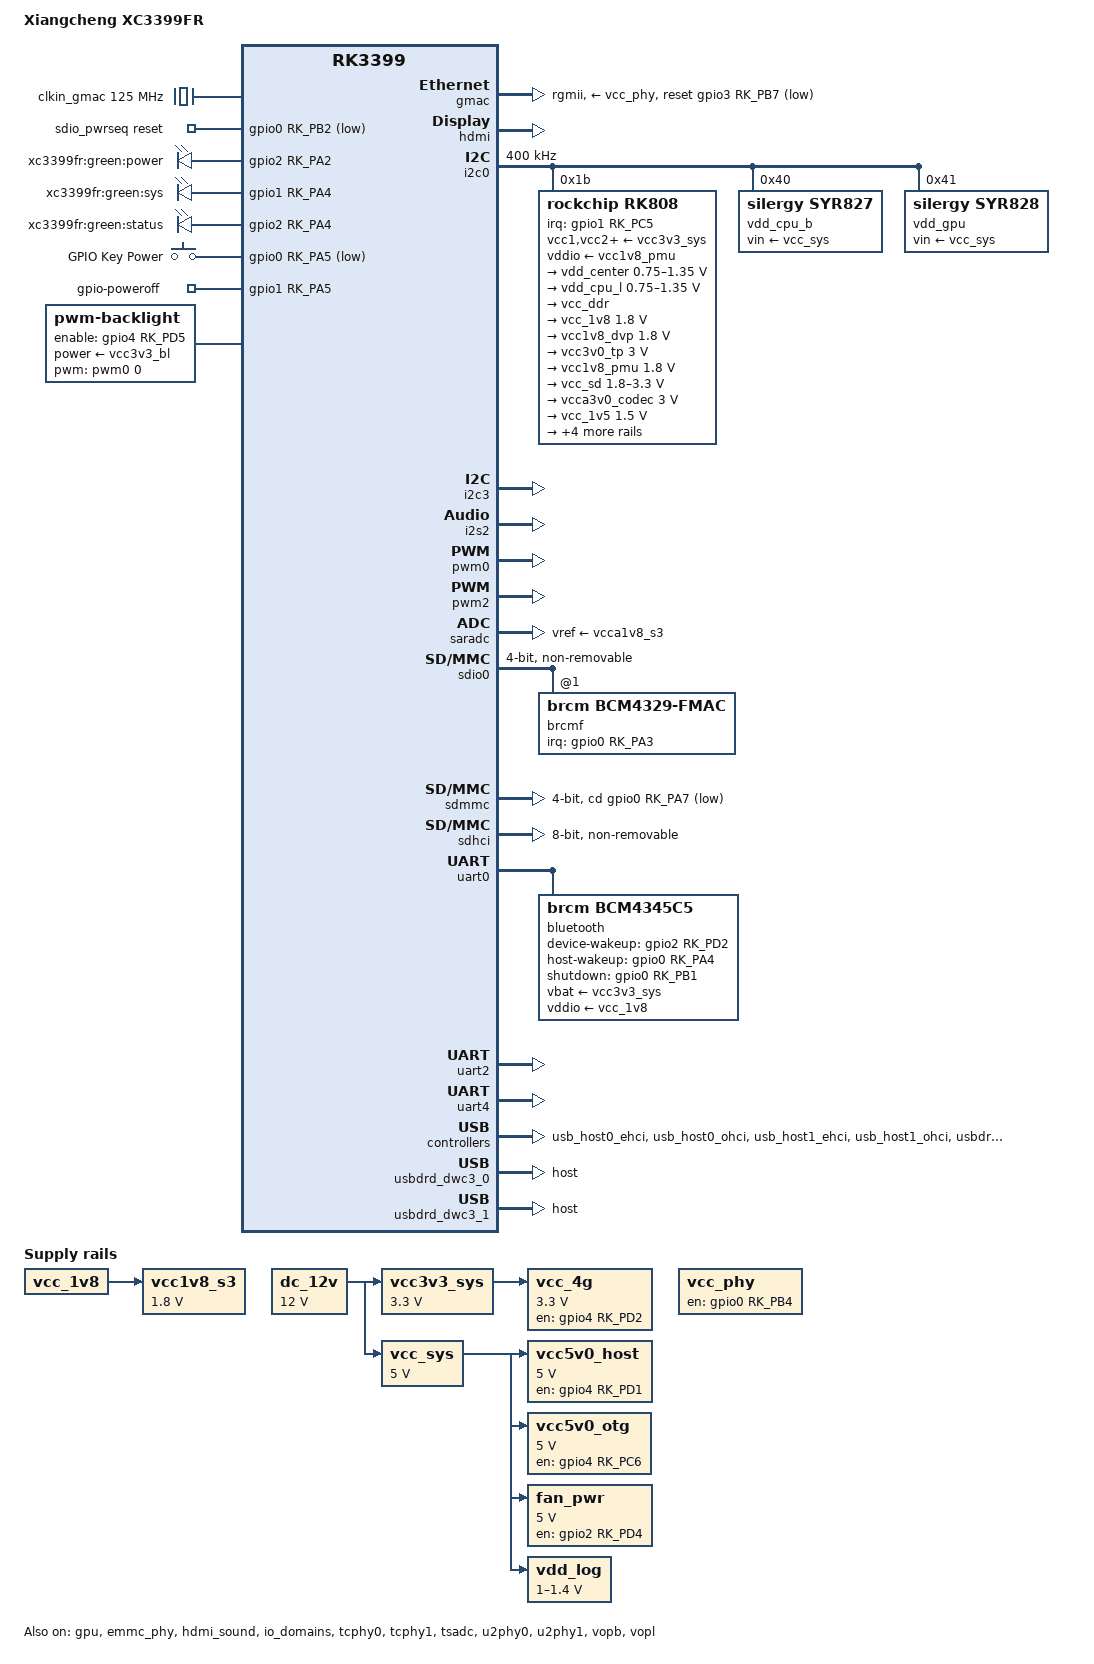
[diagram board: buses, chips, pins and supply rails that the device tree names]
// SPDX-License-Identifier: (GPL-2.0+ OR MIT)
/*
 * Guangzhou Xiangcheng Electronics (proembed.com) XC3399FR industrial board.
 * (validated on hardware revision v1.1a)
 *
 * Derived from rk3399-fine3399.dts and validated against a live board over
 * the debug UART. A vendor Android device tree dumped from an XC3399FR of a
 * different hardware revision (compatible "rockchip,rk3399-excavator-edp")
 * was used as a cross-check only, never as the sole justification.
 *
 * Hardware notes (probed over the debug UART on a live board):
 *  - 4 GB LPDDR4 (the printed datasheet claims DDR3 - it is wrong)
 *  - 16 GB eMMC, HS400 enhanced strobe
 *  - RTL8211E gigabit PHY on RGMII
 *  - AP6256 (BCM4345/9) WiFi on SDIO + Bluetooth on UART0
 *  - 4x RS232 are an Exar XR21V1414 USB bridge, not SoC UARTs
 *  - The mini-PCIe slot has a 3V3 enable on gpio4 RK_PD2 but no working
 *    PCIe link (the PHY PLL never locks); treat it as a 4G modem slot
 *
 * The vendor Android tree is only partly trustworthy - it still carries
 * Rockchip reference-board leftovers. An i2c scan of this board shows
 * only 0x1b/0x40/0x41 on i2c0, so the HYM8563 RTC the vendor tree
 * declares at 0x51 does not exist here and is deliberately absent below.
 * Anything not confirmed against real hardware was left out.
 */

/dts-v1/;
#include <dt-bindings/input/input.h>
#include <dt-bindings/pwm/pwm.h>
#include "rk3399.dtsi"

/ {
	model = "Xiangcheng XC3399FR";
	compatible = "xcdz,xc3399fr", "rockchip,rk3399";

	aliases {
		mmc0 = &sdio0;
		mmc1 = &sdmmc;
		mmc2 = &sdhci;
	};

	chosen {
		stdout-path = "serial2:1500000n8";
	};

	clkin_gmac: external-gmac-clock {
		compatible = "fixed-clock";
		clock-frequency = <125000000>;
		clock-output-names = "clkin_gmac";
		#clock-cells = <0>;
	};

	dc_12v: dc-12v {
		compatible = "regulator-fixed";
		regulator-name = "dc_12v";
		regulator-always-on;
		regulator-boot-on;
		regulator-min-microvolt = <12000000>;
		regulator-max-microvolt = <12000000>;
	};

	sdio_pwrseq: sdio-pwrseq {
		compatible = "mmc-pwrseq-simple";
		clocks = <&rk808 1>;
		clock-names = "ext_clock";
		pinctrl-names = "default";
		pinctrl-0 = <&wifi_reg_on_h>;
		reset-gpios = <&gpio0 RK_PB2 GPIO_ACTIVE_LOW>;
	};

	/* switched by pmic_sleep */
	vcc1v8_s3: vcca1v8_s3: vcc1v8-s3 {
		compatible = "regulator-fixed";
		regulator-name = "vcc1v8_s3";
		regulator-always-on;
		regulator-boot-on;
		regulator-min-microvolt = <1800000>;
		regulator-max-microvolt = <1800000>;
		vin-supply = <&vcc_1v8>;
	};

	vcc3v3_sys: vcc3v3_bl: vcc3v3-sys {
		compatible = "regulator-fixed";
		regulator-name = "vcc3v3_sys";
		regulator-always-on;
		regulator-boot-on;
		regulator-min-microvolt = <3300000>;
		regulator-max-microvolt = <3300000>;
		vin-supply = <&dc_12v>;
	};

	vcc_sys: vcc5v0_sys: vcc-sys {
		compatible = "regulator-fixed";
		regulator-name = "vcc_sys";
		regulator-always-on;
		regulator-boot-on;
		regulator-min-microvolt = <5000000>;
		regulator-max-microvolt = <5000000>;
		vin-supply = <&dc_12v>;
	};

	/*
	 * The vendor Android tree declares vcc_phy with no enable GPIO, but
	 * that tree has been shown to carry leftovers from the Rockchip
	 * reference board, and driving gpio0 RK_PB4 is what is running on
	 * this board today with a working RTL8211E link. gpio0 RK_PB4 is
	 * referenced by nothing else in the vendor tree, so asserting it is
	 * harmless either way - keep the configuration that is known good.
	 */
	vcc_phy: vcc-phy-regulator {
		compatible = "regulator-fixed";
		enable-active-high;
		gpio = <&gpio0 RK_PB4 GPIO_ACTIVE_HIGH>;
		pinctrl-names = "default";
		pinctrl-0 = <&vcc_phy_h>;
		regulator-name = "vcc_phy";
		regulator-always-on;
		regulator-boot-on;
	};

	/*
	 * USB 5V rails. Both are enable-active-high GPIOs that fine3399 does
	 * not describe at all, which leaves the right-hand USB3 port dead.
	 * Worse, fine3399's ST7735R SPI panel claims GPIO4_D1 as an
	 * active-low reset and pulls the host rail down.
	 */
	vcc5v0_host: vcc5v0-host-regulator {
		compatible = "regulator-fixed";
		enable-active-high;
		gpio = <&gpio4 RK_PD1 GPIO_ACTIVE_HIGH>;
		pinctrl-names = "default";
		pinctrl-0 = <&host_vbus_drv>;
		regulator-name = "vcc5v0_host";
		regulator-min-microvolt = <5000000>;
		regulator-max-microvolt = <5000000>;
		regulator-always-on;
		regulator-boot-on;
		vin-supply = <&vcc_sys>;
	};

	vcc5v0_otg: vcc5v0-otg-regulator {
		compatible = "regulator-fixed";
		enable-active-high;
		gpio = <&gpio4 RK_PC6 GPIO_ACTIVE_HIGH>;
		pinctrl-names = "default";
		pinctrl-0 = <&otg_vbus_drv>;
		regulator-name = "vcc5v0_otg";
		regulator-min-microvolt = <5000000>;
		regulator-max-microvolt = <5000000>;
		regulator-always-on;
		regulator-boot-on;
		vin-supply = <&vcc_sys>;
	};

	/* Chassis fan header - plain GPIO enable, not PWM on this board. */
	fan_pwr: fan-pwr-regulator {
		compatible = "regulator-fixed";
		enable-active-high;
		gpio = <&gpio2 RK_PD4 GPIO_ACTIVE_HIGH>;
		regulator-name = "fan_pwr";
		regulator-min-microvolt = <5000000>;
		regulator-max-microvolt = <5000000>;
		regulator-always-on;
		regulator-boot-on;
		vin-supply = <&vcc_sys>;
	};

	/* Power for a USB-signalled 4G modem in the mini-PCIe slot. */
	vcc_4g: vcc-4g-regulator {
		compatible = "regulator-fixed";
		enable-active-high;
		gpio = <&gpio4 RK_PD2 GPIO_ACTIVE_HIGH>;
		regulator-name = "vcc_4g";
		regulator-min-microvolt = <3300000>;
		regulator-max-microvolt = <3300000>;
		regulator-always-on;
		regulator-boot-on;
		vin-supply = <&vcc3v3_sys>;
	};

	/*
	 * vdd_log is a PWM regulator on PWM2, inverted, 25 us period. The
	 * Rockchip reference tree - and fine3399, which copies it - declares a
	 * 0.8 V floor, but the vendor tree for this board narrows it to 1.0 V
	 * and records rockchip,pwm_voltage = 1100000. With the duty the
	 * bootloader actually leaves behind (6234/25000, measured), a 0.8 V
	 * floor makes the kernel model that rail as 0.95 V while a 1.0 V floor
	 * models it as exactly the 1.1 V the vendor specifies. Use the vendor
	 * limits so the logic rail can never be modelled below its safe floor.
	 */
	vdd_log: vdd-log {
		compatible = "pwm-regulator";
		pwms = <&pwm2 0 25000 1>;
		regulator-name = "vdd_log";
		regulator-always-on;
		regulator-boot-on;
		regulator-min-microvolt = <1000000>;
		regulator-max-microvolt = <1400000>;
		vin-supply = <&vcc_sys>;
	};

	leds: gpio-leds {
		compatible = "gpio-leds";

		power_led: power-led {
			label = "xc3399fr:green:power";
			gpios = <&gpio2 RK_PA2 GPIO_ACTIVE_HIGH>;
			default-state = "on";
		};

		sys_led: sys-led {
			label = "xc3399fr:green:sys";
			gpios = <&gpio1 RK_PA4 GPIO_ACTIVE_HIGH>;
			linux,default-trigger = "heartbeat";
		};

		status_led: status-led {
			label = "xc3399fr:green:status";
			gpios = <&gpio2 RK_PA4 GPIO_ACTIVE_HIGH>;
			/*
			 * The rootfs can live on eMMC or on a USB SSD, so bind
			 * this to block activity in general rather than to one
			 * mmc host index.
			 */
			linux,default-trigger = "disk-activity";
		};
	};

	gpio-keys {
		compatible = "gpio-keys";
		autorepeat;
		pinctrl-names = "default";
		pinctrl-0 = <&power_key>;

		power {
			debounce-interval = <100>;
			gpios = <&gpio0 RK_PA5 GPIO_ACTIVE_LOW>;
			label = "GPIO Key Power";
			linux,code = <KEY_POWER>;
			wakeup-source;
		};
	};

	gpio-poweroff {
		compatible = "gpio-poweroff";
		gpios = <&gpio1 RK_PA5 GPIO_ACTIVE_HIGH>;
	};

	backlight: backlight {
		compatible = "pwm-backlight";
		brightness-levels = <0 4 8 16 32 64 128 255>;
		default-brightness-level = <6>;
		enable-gpios = <&gpio4 RK_PD5 GPIO_ACTIVE_HIGH>;
		power-supply = <&vcc3v3_bl>;
		pwms = <&pwm0 0 1000000 0>;
		status = "okay";
	};

};

&cpu_l0 {
	cpu-supply = <&vdd_cpu_l>;
};

&cpu_l1 {
	cpu-supply = <&vdd_cpu_l>;
};

&cpu_l2 {
	cpu-supply = <&vdd_cpu_l>;
};

&cpu_l3 {
	cpu-supply = <&vdd_cpu_l>;
};

&cpu_b0 {
	cpu-supply = <&vdd_cpu_b>;
};

&cpu_b1 {
	cpu-supply = <&vdd_cpu_b>;
};

&gpu {
	mali-supply = <&vdd_gpu>;
	status = "okay";
};

&emmc_phy {
	status = "okay";
};

&gmac {
	assigned-clocks = <&cru SCLK_RMII_SRC>;
	assigned-clock-parents = <&clkin_gmac>;
	clock_in_out = "input";
	phy-supply = <&vcc_phy>;
	phy-mode = "rgmii";
	pinctrl-names = "default";
	pinctrl-0 = <&rgmii_pins>;
	snps,reset-gpio = <&gpio3 RK_PB7 GPIO_ACTIVE_LOW>;
	snps,reset-active-low;
	snps,reset-delays-us = <0 10000 50000>;
	/*
	 * RGMII skew from the vendor Android tree for this board. fine3399
	 * carries 0x28/0x11, which is what the Rockchip reference design
	 * uses - the vendor having tuned these away from the reference is
	 * good evidence they are board specific. Verify with a sustained
	 * iperf3 run plus "ethtool -S eth0" error counters before shipping;
	 * a wrong rx skew links at 1000M and only shows up as packet loss.
	 */
	tx_delay = <0x27>;
	rx_delay = <0x1d>;
	/*
	 * No MAC is fused on this board, so stmmac assigns a random one at
	 * probe. That is only the pre-userspace address: systemd's default
	 * MACAddressPolicy=persistent then derives a stable per-board MAC
	 * from the machine-id, which is both stable across reboots and
	 * unique per unit. Do not pin local-mac-address here - it would be
	 * identical on every board built from this tree, and userspace
	 * overrides it anyway.
	 */
	status = "okay";
};

&hdmi {
	ddc-i2c-bus = <&i2c3>;
	pinctrl-names = "default";
	pinctrl-0 = <&hdmi_cec>;
	status = "okay";
};

&hdmi_sound {
	status = "okay";
};

&i2c0 {
	clock-frequency = <400000>;
	i2c-scl-rising-time-ns = <168>;
	i2c-scl-falling-time-ns = <4>;
	status = "okay";

	rk808: pmic@1b {
		compatible = "rockchip,rk808";
		reg = <0x1b>;
		interrupt-parent = <&gpio1>;
		interrupts = <RK_PC5 IRQ_TYPE_LEVEL_LOW>;
		#clock-cells = <1>;
		clock-output-names = "xin32k", "rk808-clkout2";
		pinctrl-names = "default";
		pinctrl-0 = <&pmic_int_l &pmic_dvs2>;
		rockchip,system-power-controller;
		wakeup-source;

		vcc1-supply = <&vcc3v3_sys>;
		vcc2-supply = <&vcc3v3_sys>;
		vcc3-supply = <&vcc3v3_sys>;
		vcc4-supply = <&vcc3v3_sys>;
		vcc6-supply = <&vcc3v3_sys>;
		vcc7-supply = <&vcc3v3_sys>;
		vcc8-supply = <&vcc3v3_sys>;
		vcc9-supply = <&vcc3v3_sys>;
		vcc10-supply = <&vcc3v3_sys>;
		vcc11-supply = <&vcc3v3_sys>;
		vcc12-supply = <&vcc3v3_sys>;
		vddio-supply = <&vcc1v8_pmu>;

		regulators {
			vdd_center: DCDC_REG1 {
				regulator-name = "vdd_center";
				regulator-always-on;
				regulator-boot-on;
				regulator-min-microvolt = <750000>;
				regulator-max-microvolt = <1350000>;
				regulator-ramp-delay = <6001>;
				regulator-state-mem {
					regulator-off-in-suspend;
				};
			};

			vdd_cpu_l: DCDC_REG2 {
				regulator-name = "vdd_cpu_l";
				regulator-always-on;
				regulator-boot-on;
				regulator-min-microvolt = <750000>;
				regulator-max-microvolt = <1350000>;
				regulator-ramp-delay = <6001>;
				regulator-state-mem {
					regulator-off-in-suspend;
				};
			};

			vcc_ddr: DCDC_REG3 {
				regulator-name = "vcc_ddr";
				regulator-always-on;
				regulator-boot-on;
				regulator-state-mem {
					regulator-on-in-suspend;
				};
			};

			vcc_1v8: DCDC_REG4 {
				regulator-name = "vcc_1v8";
				regulator-always-on;
				regulator-boot-on;
				regulator-min-microvolt = <1800000>;
				regulator-max-microvolt = <1800000>;
				regulator-state-mem {
					regulator-on-in-suspend;
					regulator-suspend-microvolt = <1800000>;
				};
			};

			vcc1v8_dvp: LDO_REG1 {
				regulator-name = "vcc1v8_dvp";
				regulator-always-on;
				regulator-boot-on;
				regulator-min-microvolt = <1800000>;
				regulator-max-microvolt = <1800000>;
				regulator-state-mem {
					regulator-off-in-suspend;
				};
			};

			vcc3v0_tp: LDO_REG2 {
				regulator-name = "vcc3v0_tp";
				regulator-always-on;
				regulator-boot-on;
				regulator-min-microvolt = <3000000>;
				regulator-max-microvolt = <3000000>;
				regulator-state-mem {
					regulator-off-in-suspend;
				};
			};

			vcc1v8_pmu: LDO_REG3 {
				regulator-name = "vcc1v8_pmu";
				regulator-always-on;
				regulator-boot-on;
				regulator-min-microvolt = <1800000>;
				regulator-max-microvolt = <1800000>;
				regulator-state-mem {
					regulator-on-in-suspend;
					regulator-suspend-microvolt = <1800000>;
				};
			};

			vcc_sd: LDO_REG4 {
				regulator-name = "vcc_sd";
				regulator-always-on;
				regulator-boot-on;
				regulator-min-microvolt = <1800000>;
				regulator-max-microvolt = <3300000>;
				regulator-state-mem {
					regulator-on-in-suspend;
					regulator-suspend-microvolt = <3300000>;
				};
			};

			vcca3v0_codec: LDO_REG5 {
				regulator-name = "vcca3v0_codec";
				regulator-always-on;
				regulator-boot-on;
				regulator-min-microvolt = <3000000>;
				regulator-max-microvolt = <3000000>;
				regulator-state-mem {
					regulator-off-in-suspend;
				};
			};

			vcc_1v5: LDO_REG6 {
				regulator-name = "vcc_1v5";
				regulator-always-on;
				regulator-boot-on;
				regulator-min-microvolt = <1500000>;
				regulator-max-microvolt = <1500000>;
				regulator-state-mem {
					regulator-on-in-suspend;
					regulator-suspend-microvolt = <1500000>;
				};
			};

			vcca1v8_codec: LDO_REG7 {
				regulator-name = "vcca1v8_codec";
				regulator-always-on;
				regulator-boot-on;
				regulator-min-microvolt = <1800000>;
				regulator-max-microvolt = <1800000>;
				regulator-state-mem {
					regulator-off-in-suspend;
				};
			};

			vcc_3v0: LDO_REG8 {
				regulator-name = "vcc_3v0";
				regulator-always-on;
				regulator-boot-on;
				regulator-min-microvolt = <3000000>;
				regulator-max-microvolt = <3000000>;
				regulator-state-mem {
					regulator-on-in-suspend;
					regulator-suspend-microvolt = <3000000>;
				};
			};

			vcc3v3_s3: SWITCH_REG1 {
				regulator-name = "vcc3v3_s3";
				regulator-always-on;
				regulator-boot-on;
				regulator-state-mem {
					regulator-off-in-suspend;
				};
			};

			vcc3v3_s0: SWITCH_REG2 {
				regulator-name = "vcc3v3_s0";
				regulator-always-on;
				regulator-boot-on;
				regulator-state-mem {
					regulator-off-in-suspend;
				};
			};
		};
	};

	vdd_cpu_b: regulator@40 {
		compatible = "silergy,syr827";
		reg = <0x40>;
		fcs,suspend-voltage-selector = <1>;
		pinctrl-names = "default";
		pinctrl-0 = <&cpu_b_sleep>;
		regulator-name = "vdd_cpu_b";
		regulator-min-microvolt = <712500>;
		regulator-max-microvolt = <1500000>;
		regulator-ramp-delay = <1000>;
		regulator-always-on;
		regulator-boot-on;
		vin-supply = <&vcc_sys>;

		regulator-state-mem {
			regulator-off-in-suspend;
		};
	};

	vdd_gpu: regulator@41 {
		compatible = "silergy,syr828";
		reg = <0x41>;
		fcs,suspend-voltage-selector = <1>;
		pinctrl-names = "default";
		pinctrl-0 = <&gpu_sleep>;
		regulator-name = "vdd_gpu";
		regulator-min-microvolt = <712500>;
		regulator-max-microvolt = <1500000>;
		regulator-ramp-delay = <1000>;
		regulator-always-on;
		regulator-boot-on;
		vin-supply = <&vcc_sys>;

		regulator-state-mem {
			regulator-off-in-suspend;
		};
	};

};


/* HDMI DDC */
&i2c3 {
	i2c-scl-rising-time-ns = <450>;
	i2c-scl-falling-time-ns = <15>;
	status = "okay";
};



&i2s2 {
	status = "okay";
};

&io_domains {
	status = "okay";

	bt656-supply = <&vcc1v8_dvp>;
	audio-supply = <&vcca1v8_codec>;
	sdmmc-supply = <&vcc_sd>;
	gpio1830-supply = <&vcc_3v0>;
};

&pmu_io_domains {
	status = "okay";
	pmu1830-supply = <&vcc_1v8>;
};

/*
 * No PCIe is routed on this board - the mini-PCIe slot is USB-only for 4G
 * modems, and the vendor tree keeps both nodes disabled. Leaving them on
 * only produces "pll lock timeout" and a -110 probe failure at every boot.
 */
&pcie_phy {
	status = "disabled";
};

&pcie0 {
	status = "disabled";
};

&pinctrl {
	pmic {
		cpu_b_sleep: cpu-b-sleep {
			rockchip,pins = <1 RK_PC1 RK_FUNC_GPIO &pcfg_pull_down>;
		};

		gpu_sleep: gpu-sleep {
			rockchip,pins = <1 RK_PB6 RK_FUNC_GPIO &pcfg_pull_down>;
		};

		pmic_int_l: pmic-int-l {
			rockchip,pins = <1 RK_PC5 RK_FUNC_GPIO &pcfg_pull_up>;
		};

		pmic_dvs2: pmic-dvs2 {
			rockchip,pins = <1 RK_PC2 RK_FUNC_GPIO &pcfg_pull_down>;
		};
	};

	sdio-pwrseq {
		wifi_reg_on_h: wifi-reg-on-h {
			rockchip,pins = <0 RK_PB2 RK_FUNC_GPIO &pcfg_pull_none>;
		};
	};

	wifi {
		wifi_host_wake_l: wifi-host-wake-l {
			rockchip,pins = <0 RK_PA3 RK_FUNC_GPIO &pcfg_pull_none>;
		};
	};

	bt {
		bt_enable_h: bt-enable-h {
			rockchip,pins = <0 RK_PB1 RK_FUNC_GPIO &pcfg_pull_none>;
		};

		bt_host_wake_l: bt-host-wake-l {
			rockchip,pins = <0 RK_PA4 RK_FUNC_GPIO &pcfg_pull_down>;
		};

		bt_wake_l: bt-wake-l {
			rockchip,pins = <2 RK_PD2 RK_FUNC_GPIO &pcfg_pull_none>;
		};
	};

	usb {
		host_vbus_drv: host-vbus-drv {
			rockchip,pins = <4 RK_PD1 RK_FUNC_GPIO &pcfg_pull_none>;
		};

		otg_vbus_drv: otg-vbus-drv {
			rockchip,pins = <4 RK_PC6 RK_FUNC_GPIO &pcfg_pull_none>;
		};
	};

	gmac {
		vcc_phy_h: vcc-phy-h {
			rockchip,pins = <0 RK_PB4 RK_FUNC_GPIO &pcfg_pull_up>;
		};
	};

	buttons {
		power_key: power-key {
			rockchip,pins = <0 RK_PA5 RK_FUNC_GPIO &pcfg_pull_up>;
		};
	};
};

/* Panel backlight */
&pwm0 {
	status = "okay";
};

/* vdd_log */
&pwm2 {
	status = "okay";
};

&saradc {
	vref-supply = <&vcca1v8_s3>;
	status = "okay";
};

/*
 * AP6256 WiFi. 50 MHz looks low next to the sd-uhs-sdr104 next to it, but the
 * vendor tree caps this controller at exactly the same figure
 * (clock-freq-min-max = <200000 50000000>, clock-frequency = 50000000), so the
 * ceiling is this board's, not a fine3399 leftover. Leave it alone.
 */
&sdio0 {
	bus-width = <4>;
	cap-sd-highspeed;
	cap-sdio-irq;
	clock-frequency = <50000000>;
	disable-wp;
	keep-power-in-suspend;
	max-frequency = <50000000>;
	mmc-pwrseq = <&sdio_pwrseq>;
	non-removable;
	pinctrl-names = "default";
	pinctrl-0 = <&sdio0_bus4 &sdio0_cmd &sdio0_clk>;
	sd-uhs-sdr104;
	#address-cells = <1>;
	#size-cells = <0>;
	status = "okay";

	brcmf: wifi@1 {
		reg = <1>;
		compatible = "brcm,bcm4329-fmac";
		interrupt-parent = <&gpio0>;
		interrupts = <RK_PA3 GPIO_ACTIVE_HIGH>;
		interrupt-names = "host-wake";
		brcm,drive-strength = <5>;
		pinctrl-names = "default";
		pinctrl-0 = <&wifi_host_wake_l>;
	};
};

/*
 * TF slot. The vendor Android tree only advertises high-speed, but this board
 * has been running the fine3399 configuration - SDR104 at 150 MHz, the RK3399
 * sdmmc ceiling - with no trouble, so keep the faster settings. The slower UHS
 * modes are advertised alongside it: they share the same 1.8 V signalling
 * switch SDR104 already needs, and without them a card that tops out at SDR50
 * drops all the way back to 50 MHz high-speed.
 *
 * One caveat worth knowing before shipping in volume: the vendor tree declares
 * this controller at 100 MHz (clock-freq-min-max = <100000 100000000>) with no
 * UHS modes at all. 150 MHz is the RK3399 ceiling and fine3399 runs it on this
 * board, but it is above what the vendor specifies, and only an SDR104 card
 * ever clocks that high - the card tested here negotiates SDR50 at 100 MHz and
 * so never leaves the vendor envelope. If field units show CRC retries on
 * SDR104 cards, drop both frequencies to 100000000: SDR50 survives and only
 * SDR104 loses its top gear.
 */
&sdmmc {
	bus-width = <4>;
	cap-mmc-highspeed;
	cap-sd-highspeed;
	cd-gpios = <&gpio0 RK_PA7 GPIO_ACTIVE_LOW>;
	clock-frequency = <150000000>;
	max-frequency = <150000000>;
	sd-uhs-sdr12;
	sd-uhs-sdr25;
	sd-uhs-sdr50;
	sd-uhs-sdr104;
	disable-wp;
	pinctrl-names = "default";
	pinctrl-0 = <&sdmmc_clk &sdmmc_cmd &sdmmc_cd &sdmmc_bus4>;
	vqmmc-supply = <&vcc_sd>;
	status = "okay";
};

&sdhci {
	bus-width = <8>;
	mmc-hs400-1_8v;
	mmc-hs400-enhanced-strobe;
	keep-power-in-suspend;
	non-removable;
	status = "okay";
};

&tcphy0 {
	status = "okay";
};

&tcphy1 {
	status = "okay";
};

/*
 * The vendor tree raises the hardware thermal shutdown to 120 C. Keep the
 * mainline 95 C default instead: it sits well above the 83.9 C measured under
 * a full CPU+GPU+IO+network stress run, and well below anything that would
 * shorten the part's life in a 24/7 installation.
 */
&tsadc {
	/* tshut mode 0:CRU 1:GPIO */
	rockchip,hw-tshut-mode = <1>;
	/* tshut polarity 0:LOW 1:HIGH */
	rockchip,hw-tshut-polarity = <1>;
	status = "okay";
};

&u2phy0 {
	status = "okay";

	u2phy0_otg: otg-port {
		phy-supply = <&vcc5v0_otg>;
		status = "okay";
	};

	u2phy0_host: host-port {
		phy-supply = <&vcc5v0_host>;
		status = "okay";
	};
};

&u2phy1 {
	status = "okay";

	u2phy1_otg: otg-port {
		phy-supply = <&vcc5v0_host>;
		status = "okay";
	};

	u2phy1_host: host-port {
		phy-supply = <&vcc5v0_host>;
		status = "okay";
	};
};

&uart0 {
	pinctrl-names = "default";
	pinctrl-0 = <&uart0_xfer &uart0_cts &uart0_rts>;
	status = "okay";

	/*
	 * AP6256 is a BCM4345C5 part. fine3399 declares bcm43438 at 4 Mbaud,
	 * which makes hci_bcm fail with "failed to write clock (-56)".
	 */
	bluetooth {
		compatible = "brcm,bcm4345c5";
		clocks = <&rk808 1>;
		clock-names = "lpo";
		device-wakeup-gpios = <&gpio2 RK_PD2 GPIO_ACTIVE_HIGH>;
		host-wakeup-gpios = <&gpio0 RK_PA4 GPIO_ACTIVE_HIGH>;
		shutdown-gpios = <&gpio0 RK_PB1 GPIO_ACTIVE_HIGH>;
		max-speed = <1500000>;
		pinctrl-names = "default";
		pinctrl-0 = <&bt_host_wake_l &bt_wake_l &bt_enable_h>;
		vbat-supply = <&vcc3v3_sys>;
		vddio-supply = <&vcc_1v8>;
	};
};

/* Debug console */
&uart2 {
	status = "okay";
};

/* UART4 header, 3.3 V TTL */
&uart4 {
	pinctrl-names = "default";
	pinctrl-0 = <&uart4_xfer>;
	status = "okay";
};

&usb_host0_ehci {
	status = "okay";
};

&usb_host0_ohci {
	status = "okay";
};

&usb_host1_ehci {
	status = "okay";
};

&usb_host1_ohci {
	status = "okay";
};

&usbdrd3_0 {
	status = "okay";
};

&usbdrd_dwc3_0 {
	status = "okay";
	dr_mode = "host";
};

&usbdrd3_1 {
	status = "okay";
};

&usbdrd_dwc3_1 {
	status = "okay";
	dr_mode = "host";
};

&vopb {
	status = "okay";
};

&vopb_mmu {
	status = "okay";
};

&vopl {
	status = "okay";
};

&vopl_mmu {
	status = "okay";
};

/*
 * fine3399 carries an "&iep_mmu { status = "okay"; }" override. It is dead
 * weight: rk3399-base.dtsi gives that node no status property at all, so it is
 * already enabled and the IEP still binds to it (verified on the running board
 * - "ff670000.iep: Adding to iommu group 2" - with the override removed).
 */
